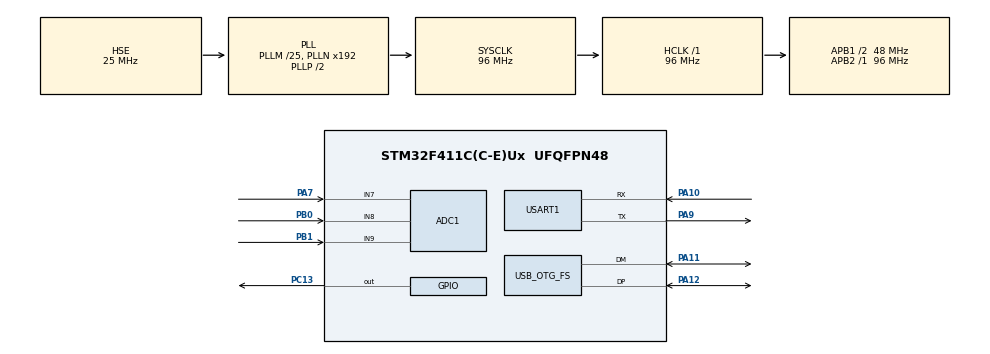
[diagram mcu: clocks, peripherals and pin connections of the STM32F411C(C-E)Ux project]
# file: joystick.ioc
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ADC1.Channel-2\#ChannelRegularConversion=ADC_CHANNEL_8
ADC1.Channel-3\#ChannelRegularConversion=ADC_CHANNEL_9
ADC1.Channel-4\#ChannelRegularConversion=ADC_CHANNEL_7
ADC1.ContinuousConvMode=ENABLE
ADC1.DMAContinuousRequests=ENABLE
ADC1.NbrOfConversion=3
ADC1.NbrOfConversionFlag=1
ADC1.Rank-2\#ChannelRegularConversion=1
ADC1.Rank-3\#ChannelRegularConversion=2
ADC1.Rank-4\#ChannelRegularConversion=3
ADC1.SamplingTime-2\#ChannelRegularConversion=ADC_SAMPLETIME_84CYCLES
ADC1.SamplingTime-3\#ChannelRegularConversion=ADC_SAMPLETIME_84CYCLES
ADC1.SamplingTime-4\#ChannelRegularConversion=ADC_SAMPLETIME_84CYCLES
ADC1.master=1
Dma.ADC1.1.Direction=DMA_PERIPH_TO_MEMORY
Dma.ADC1.1.FIFOMode=DMA_FIFOMODE_DISABLE
Dma.ADC1.1.Instance=DMA2_Stream0
Dma.ADC1.1.MemDataAlignment=DMA_MDATAALIGN_WORD
Dma.ADC1.1.MemInc=DMA_MINC_ENABLE
Dma.ADC1.1.Mode=DMA_CIRCULAR
Dma.ADC1.1.PeriphDataAlignment=DMA_PDATAALIGN_WORD
Dma.ADC1.1.PeriphInc=DMA_PINC_DISABLE
Dma.ADC1.1.Priority=DMA_PRIORITY_LOW
Dma.Request0=USART1_RX
Dma.Request1=ADC1
Dma.USART1_RX.0.Direction=DMA_PERIPH_TO_MEMORY
Dma.USART1_RX.0.FIFOMode=DMA_FIFOMODE_DISABLE
Dma.USART1_RX.0.Instance=DMA2_Stream2
Dma.USART1_RX.0.MemDataAlignment=DMA_MDATAALIGN_BYTE
Dma.USART1_RX.0.MemInc=DMA_MINC_ENABLE
Dma.USART1_RX.0.Mode=DMA_CIRCULAR
Dma.USART1_RX.0.PeriphDataAlignment=DMA_PDATAALIGN_BYTE
Dma.USART1_RX.0.PeriphInc=DMA_PINC_DISABLE
Dma.USART1_RX.0.Priority=DMA_PRIORITY_LOW
Mcu.Family=STM32F4
Mcu.Name=STM32F411C(C-E)Ux
Mcu.Package=UFQFPN48
NVIC.DMA2_Stream0_IRQn=true\:0\:0\:false\:false\:true\:false\:true\:true
NVIC.DMA2_Stream2_IRQn=true\:0\:0\:false\:false\:true\:false\:true\:true
NVIC.OTG_FS_IRQn=true\:0\:0\:false\:false\:true\:false\:true\:true
NVIC.PriorityGroup=NVIC_PRIORITYGROUP_4
PA10.Mode=Asynchronous
PA10.Signal=USART1_RX
PA11.Mode=Device_Only
PA11.Signal=USB_OTG_FS_DM
PA12.Mode=Device_Only
PA12.Signal=USB_OTG_FS_DP
PA13.Mode=Serial_Wire
PA13.Signal=SYS_JTMS-SWDIO
PA14.Mode=Serial_Wire
PA14.Signal=SYS_JTCK-SWCLK
PA7.Signal=ADCx_IN7
PA9.Mode=Asynchronous
PA9.Signal=USART1_TX
PB0.Signal=ADCx_IN8
PB1.Signal=ADCx_IN9
PC13-ANTI_TAMP.PinState=GPIO_PIN_SET
PC13-ANTI_TAMP.Signal=GPIO_Output
PC14-OSC32_IN.Mode=LSE-External-Oscillator
PC14-OSC32_IN.Signal=RCC_OSC32_IN
PC15-OSC32_OUT.Mode=LSE-External-Oscillator
PC15-OSC32_OUT.Signal=RCC_OSC32_OUT
PH0\ -\ OSC_IN.Mode=HSE-External-Oscillator
PH0\ -\ OSC_IN.Signal=RCC_OSC_IN
PH1\ -\ OSC_OUT.Mode=HSE-External-Oscillator
PH1\ -\ OSC_OUT.Signal=RCC_OSC_OUT
ProjectManager.HeapSize=0x200
ProjectManager.StackSize=0x400
ProjectManager.TargetToolchain=STM32CubeIDE
RCC.48MHZClocksFreq_Value=48000000
RCC.AHBFreq_Value=96000000
RCC.APB1CLKDivider=RCC_HCLK_DIV2
RCC.APB1Freq_Value=48000000
RCC.APB1TimFreq_Value=96000000
RCC.APB2Freq_Value=96000000
RCC.APB2TimFreq_Value=96000000
RCC.CortexFreq_Value=96000000
RCC.HCLKFreq_Value=96000000
RCC.HSE_VALUE=25000000
RCC.HSI_VALUE=16000000
RCC.PLLM=25
RCC.SYSCLKFreq_VALUE=96000000
RCC.SYSCLKSource=RCC_SYSCLKSOURCE_PLLCLK
RCC.VCOOutputFreq_Value=192000000
SH.ADCx_IN7.0=ADC1_IN7,IN7
SH.ADCx_IN8.0=ADC1_IN8,IN8
SH.ADCx_IN9.0=ADC1_IN9,IN9
USART1.VirtualMode=VM_ASYNC
USB_DEVICE.CLASS_NAME_FS=HID
USB_DEVICE.MANUFACTURER_STRING=STMicroelectronic
USB_DEVICE.VirtualMode=Hid
USB_DEVICE.VirtualModeFS=Hid_FS
USB_OTG_FS.VirtualMode=Device_Only
VP_USB_DEVICE_VS_USB_DEVICE_HID_FS.Mode=HID_FS
board=custom

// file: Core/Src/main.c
/* USER CODE BEGIN Header */
/**
  ******************************************************************************
  * @file           : main.c
  * @brief          : Main program body
  ******************************************************************************
  * @attention
  *
  * Copyright (c) 2024 STMicroelectronics.
  * All rights reserved.
  *
  * This software is licensed under terms that can be found in the LICENSE file
  * in the root directory of this software component.
  * If no LICENSE file comes with this software, it is provided AS-IS.
  *
  ******************************************************************************
  */
/* USER CODE END Header */
#include "main.h"
#include "adc.h"
#include "dma.h"
#include "usart.h"
#include "usb_device.h"
#include "gpio.h"

/* USER CODE BEGIN PTD */
typedef enum{
	UART1 = 0,
	CDC
}TX_Type;

/* USER CODE END PTD */

/* USER CODE BEGIN PD */
#define PC13_Toggle HAL_GPIO_TogglePin(GPIOC,GPIO_PIN_13)
#define STICK_Y_PIN GPIO_PIN_1
#define STICK_X_PIN GPIO_PIN_0

#define USE_UART1
//#define USE_CDC

/* USER CODE END PD */

/* USER CODE BEGIN PV */
#ifdef USE_UART1
uint8_t uart_rx_data;
bool uart_rx_flag = false;
#endif

#ifdef USE_CDC
uint8_t *cdc_rx_data;
bool cdc_rx_flag = false;
#endif

uint32_t ADC_VAL[3];
uint8_t buffer[8] = {0};
uint8_t tx_buffer[32];

extern uint8_t USBD_HID_SendReport(USBD_HandleTypeDef *pdev, uint8_t *report, uint16_t len);
extern USBD_HandleTypeDef hUsbDeviceFS;
/* USER CODE END PV */

void SystemClock_Config(void);
/* USER CODE BEGIN PFP */
void HAL_UART_RxCpltCallback(UART_HandleTypeDef *huart)
{
	if(huart->Instance==huart1.Instance){
		uart_rx_flag = true;
		HAL_UART_Receive_DMA(&huart1, &uart_rx_data, 1);
	}
  UNUSED(huart);
}

void TX(TX_Type tx_type, char *fmt,...){
	va_list arg;
	va_start(arg,fmt);
	vsnprintf((char *)&tx_buffer[0],32,fmt,arg);
#ifdef USE_UART1
	if(tx_type==UART1){
		HAL_UART_Transmit(&huart1,tx_buffer,32,10);
	}
#endif

#ifdef USE_CDC
	else if(tx_type==CDC){
		CDC_Transmit_FS(tx_buffer,32);
	}
#endif
	va_end(arg);
	memset(tx_buffer,0,32);
}

void read_joystick_dma(){
	//x
	if(ADC_VAL[0]>=3000){
		TX(UART1,"<-\n");
		buffer[2] = 0x50;
	}
	else if(ADC_VAL[0]<=500){
		TX(UART1,"->\n");
		buffer[2] = 0x4F;
	}

	//y
	if(ADC_VAL[1]>=3000){
		TX(UART1,"^\n");
		buffer[2] = 0x52;
	}
	else if(ADC_VAL[1]<=500){
		TX(UART1,"v\n");
		buffer[2] = 0x51;
	}

	if(ADC_VAL[2]<=500){
		TX(UART1,"Switch click!\n");
		buffer[0] = 0x02;
		buffer[2] = 0x04;
	}
	USBD_HID_SendReport(&hUsbDeviceFS, buffer, 8);
	memset(buffer,0,8);
	USBD_HID_SendReport(&hUsbDeviceFS, buffer, 8);
}
/* USER CODE END PFP */

int main(void)
{

  /* MCU Configuration--------------------------------------------------------*/

  /* Reset of all peripherals, Initializes the Flash interface and the Systick. */
  HAL_Init();

  /* Configure the system clock */
  SystemClock_Config();

  /* Initialize all configured peripherals */
  MX_GPIO_Init();
  MX_DMA_Init();
  MX_USART1_UART_Init();
  MX_USB_DEVICE_Init();
  MX_ADC1_Init();
  /* USER CODE BEGIN 2 */
  uint32_t pretime=HAL_GetTick();

  UART_Start_Receive_DMA(&huart1, &uart_rx_data, 1);
  HAL_ADC_Start_DMA(&hadc1,&ADC_VAL[0], 3);

  /* USER CODE END 2 */

  /* Infinite loop */
  /* USER CODE BEGIN WHILE */
  while (1)
  {
  	if(HAL_GetTick()-pretime>100){
  		PC13_Toggle;
  		pretime = HAL_GetTick();
  		read_joystick_dma();
  	}
    /* USER CODE END WHILE */

  }
}

void SystemClock_Config(void)
{
  RCC_OscInitTypeDef RCC_OscInitStruct = {0};
  RCC_ClkInitTypeDef RCC_ClkInitStruct = {0};

  /** Configure the main internal regulator output voltage
  */
  __HAL_RCC_PWR_CLK_ENABLE();
  __HAL_PWR_VOLTAGESCALING_CONFIG(PWR_REGULATOR_VOLTAGE_SCALE1);

  /** Initializes the RCC Oscillators according to the specified parameters
  * in the RCC_OscInitTypeDef structure.
  */
  RCC_OscInitStruct.OscillatorType = RCC_OSCILLATORTYPE_HSE;
  RCC_OscInitStruct.HSEState = RCC_HSE_ON;
  RCC_OscInitStruct.PLL.PLLState = RCC_PLL_ON;
  RCC_OscInitStruct.PLL.PLLSource = RCC_PLLSOURCE_HSE;
  RCC_OscInitStruct.PLL.PLLM = 25;
  RCC_OscInitStruct.PLL.PLLN = 192;
  RCC_OscInitStruct.PLL.PLLP = RCC_PLLP_DIV2;
  RCC_OscInitStruct.PLL.PLLQ = 4;
  if (HAL_RCC_OscConfig(&RCC_OscInitStruct) != HAL_OK)
  {
    Error_Handler();
  }

  /** Initializes the CPU, AHB and APB buses clocks
  */
  RCC_ClkInitStruct.ClockType = RCC_CLOCKTYPE_HCLK|RCC_CLOCKTYPE_SYSCLK
                              |RCC_CLOCKTYPE_PCLK1|RCC_CLOCKTYPE_PCLK2;
  RCC_ClkInitStruct.SYSCLKSource = RCC_SYSCLKSOURCE_PLLCLK;
  RCC_ClkInitStruct.AHBCLKDivider = RCC_SYSCLK_DIV1;
  RCC_ClkInitStruct.APB1CLKDivider = RCC_HCLK_DIV2;
  RCC_ClkInitStruct.APB2CLKDivider = RCC_HCLK_DIV1;

  if (HAL_RCC_ClockConfig(&RCC_ClkInitStruct, FLASH_LATENCY_3) != HAL_OK)
  {
    Error_Handler();
  }
}

void Error_Handler(void)
{
  __disable_irq();
  while (1)
  {
  }
}
